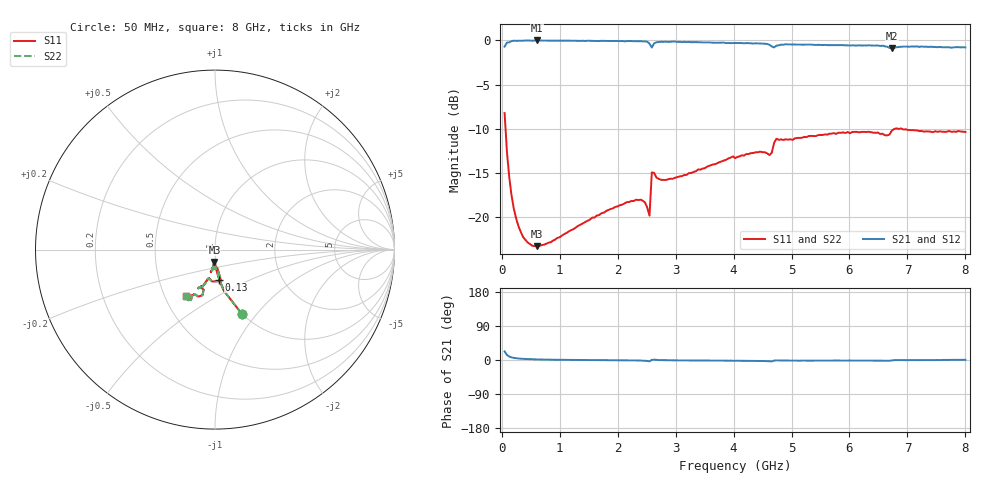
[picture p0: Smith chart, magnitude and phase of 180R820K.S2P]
!  American Technical Ceramics  Date:  3/13/98
!  One Norden Lane
!  Huntington Station,  NY.  11746-2102
!  Tel:  (516) 547-5700  Fax:  (516) 547-5748
!  Part Number  180r820k
!  Description: Porcelain, High Q, Low ESR
!  Application: Bypass, Coupling, Timing, Feedback
!  Tuning, Impedance Match, Blocking
# GHZ S DB R 50
! Freq  |S11|  S11 Ph  |S21|  S21 Ph  |S12|  S12 Ph  |S22|  S22 Ph
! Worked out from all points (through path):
!   201 points, 50 MHz to 8 GHz, reference 50 ohm
!   highest |S21| = -0.01 dB at 610 MHz (marker M1); lowest = -0.9 dB at 6.73 GHz (marker M2)
!   lowest |S11| = -23.3 dB at 610 MHz (marker M3), VSWR 1.15, Z = 49.2 - j6.79 ohm
!   |S11| at or under -10 dB: 66.29 MHz to 6.78 GHz (6.714 GHz wide, 196 % of centre); 6.844286 GHz to 6.858 GHz (13.71 MHz wide, 0.2 % of centre); 6.905 GHz to end of sweep
!   |S22| runs from -23.3 to -8.2 dB; largest |S21 - S12| = 0
!   S11 on the Smith chart (normalised r, x): 50 MHz: 1.00, -0.84; 130 MHz: 0.99, -0.34; 8 GHz: 0.64, -0.36
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0.05  -8.22 -67.3  -0.71 22.6  -0.71 22.6  -8.22 -67.3
0.09  -12.59 -77.9  -0.25 13.2  -0.25 13.2  -12.59 -77.9
0.13  -15.45 -81.9  -0.22 9.2  -0.22 9.2  -15.45 -81.9
0.21  -19.06 -86.4  -0.04 5.5  -0.04 5.5  -19.06 -86.4
0.29  -21.02 -88.8  -0.04 4.0  -0.04 4.0  -21.02 -88.8
0.45  -22.85 -91.2  -0.02 2.4  -0.02 2.4  -22.85 -91.2
0.61  -23.26 -92.8  -0.01 1.3  -0.01 1.3  -23.26 -92.8
1.4  -20.68 -96.2  -0.04 -0.0  -0.04 -0.0  -20.68 -96.2
2.32  -18.00 -100.1  -0.09 -1.1  -0.09 -1.1  -18.00 -100.1
2.47  -18.30 -100.0  -0.11 -1.9  -0.11 -1.9  -18.30 -100.0
2.55  -19.82 -82.8  -0.37 -3.6  -0.37 -3.6  -19.82 -82.8
2.59  -14.92 -78.8  -0.81 0.3  -0.81 0.3  -14.92 -78.8
2.63  -14.98 -95.6  -0.33 0.9  -0.33 0.9  -14.98 -95.6
2.71  -15.66 -100.6  -0.19 -0.2  -0.19 -0.2  -15.66 -100.6
4.03  -13.32 -110.5  -0.30 -1.9  -0.30 -1.9  -13.32 -110.5
4.46  -12.57 -113.4  -0.34 -2.5  -0.34 -2.5  -12.57 -113.4
4.62  -12.97 -111.0  -0.50 -3.4  -0.50 -3.4  -12.97 -111.0
4.74  -11.12 -109.7  -0.60 -1.0  -0.60 -1.0  -11.12 -109.7
5.38  -10.81 -117.0  -0.50 -1.8  -0.50 -1.8  -10.81 -117.0
6.69  -10.65 -116.1  -0.84 -1.9  -0.84 -1.9  -10.65 -116.1
6.73  -10.20 -115.5  -0.89 -1.2  -0.89 -1.2  -10.20 -115.5
8  -10.35 -122.0  -0.79 0.5  -0.79 0.5  -10.35 -122.0
